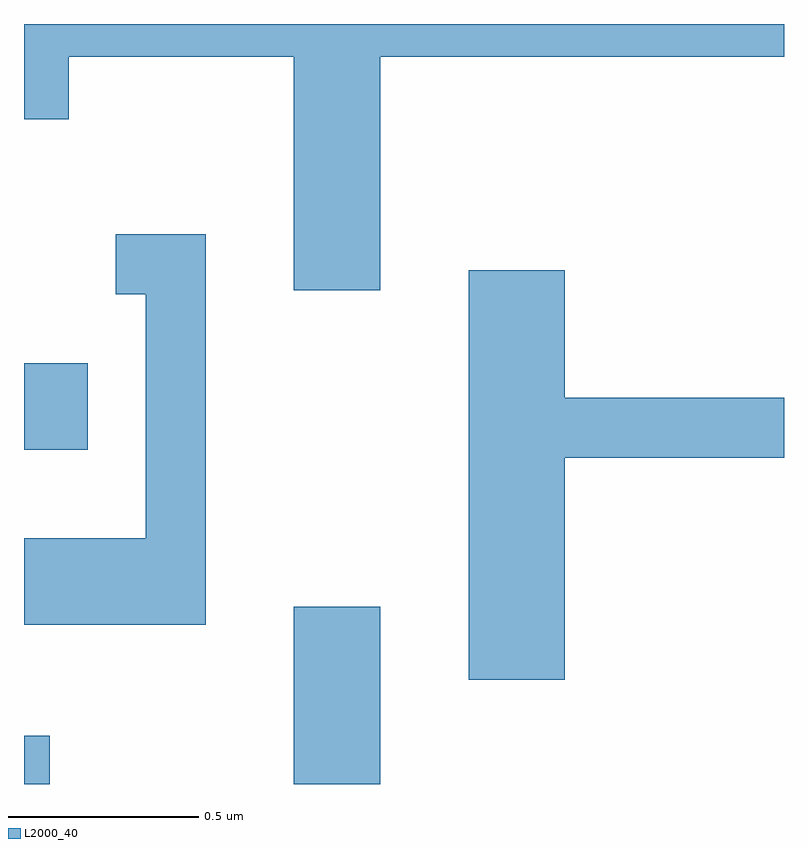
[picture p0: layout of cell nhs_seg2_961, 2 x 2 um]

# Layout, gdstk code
import gdstk
lib = gdstk.Library(unit=1e-6, precision=1e-09)
def R(c, l, rs):  # rectangles x0, y0, x1, y1
    for r in rs: c.add(gdstk.rectangle(r[:2], r[2:], *l))
def P(c, l, *ps):  # polygons
    for p in ps: c.add(gdstk.Polygon(p, *l))
L2000_40 = (2000, 40)

nhs_seg2_961 = lib.new_cell('nhs_seg2_961')
R(nhs_seg2_961, L2000_40, [(192.611,979.802,192.679,979.929), (193.321,979.802,193.549,980.269), (192.611,980.681,192.779,980.909)])
P(nhs_seg2_961, L2000_40, [(193.549,981.716),(194.611,981.716),(194.611,981.802),(192.611,981.802),(192.611,981.551),(192.729,981.551),(192.729,981.716),(193.321,981.716),(193.321,981.101),(193.549,981.101)],
  [(193.089,981.249),(192.853,981.249),(192.853,981.091),(192.931,981.091),(192.931,980.449),(192.611,980.449),(192.611,980.221),(193.089,980.221)],
  [(194.034,980.661),(194.611,980.661),(194.611,980.819),(194.034,980.819),(194.034,981.154),(193.781,981.154),(193.781,980.076),(194.034,980.076)])

lib.write_gds('nhs_seg2_961.gds')
